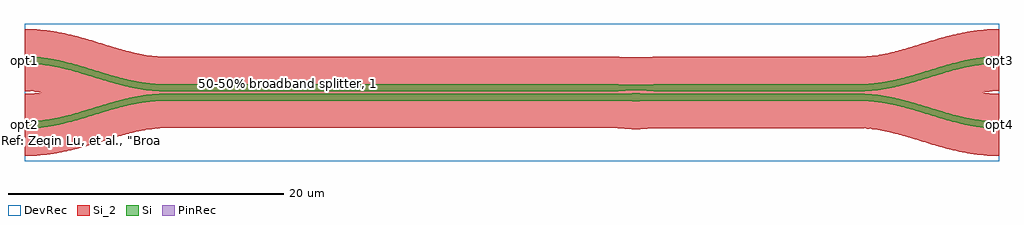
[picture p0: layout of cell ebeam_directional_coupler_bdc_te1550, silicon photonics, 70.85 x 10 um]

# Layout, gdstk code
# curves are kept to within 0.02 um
import gdstk
lib = gdstk.Library(unit=1e-6, precision=1e-09)
def R(c, l, rs):  # rectangles x0, y0, x1, y1
    for r in rs: c.add(gdstk.rectangle(r[:2], r[2:], *l))
def P(c, l, *ps):  # polygons
    for p in ps: c.add(gdstk.Polygon(p, *l))
Si = (1, 0)
Si_2 = (1, 2)
PinRec = (1, 10)
DevRec = (68, 0)

ebeam_directional_couple = lib.new_cell('ebeam_directional_coupler_bdc_te1550')
R(ebeam_directional_couple, Si, [(-35.45,-2.6,-35.35,-2.1), (35.2,-2.6,35.3,-2.1), (8.65,-0.65,9.2,-0.05), (-25.35,-0.6,7.65,-0.1), (10.2,-0.6,25.2,-0.1), (-25.35,0.1,7.65,0.6), (10.2,0.1,25.2,0.6), (8.65,0.15,9.2,0.55), (-35.45,2.1,-35.35,2.6), (35.2,2.1,35.3,2.6)])
P(ebeam_directional_couple, Si, [(-25.35,0.1),(-26.412,0.157),(-27.547,0.332),(-28.852,0.645),(-31.688,1.491),(-32.858,1.794),(-34.041,2.01),(-34.742,2.08),(-35.35,2.1),(-35.35,2.6),(-34.288,2.543),(-33.153,2.368),(-31.848,2.055),(-29.012,1.209),(-27.842,0.906),(-26.659,0.69),(-25.958,0.62),(-25.35,0.6)],
  [(-35.35,-2.6),(-35.35,-2.1),(-34.742,-2.08),(-34.041,-2.01),(-32.858,-1.794),(-31.688,-1.491),(-28.852,-0.645),(-27.547,-0.332),(-26.412,-0.157),(-25.35,-0.1),(-25.35,-0.6),(-25.958,-0.62),(-26.659,-0.69),(-27.842,-0.906),(-29.012,-1.209),(-31.848,-2.055),(-33.153,-2.368),(-34.288,-2.543)],
  [(25.2,0.1),(25.2,0.6),(25.808,0.62),(26.509,0.69),(27.692,0.906),(28.862,1.209),(31.698,2.055),(33.003,2.368),(34.138,2.543),(35.2,2.6),(35.2,2.1),(34.592,2.08),(33.891,2.01),(32.708,1.794),(31.538,1.491),(28.702,0.645),(27.397,0.332),(26.262,0.157)],
  [(35.2,-2.6),(34.138,-2.543),(33.003,-2.368),(31.698,-2.055),(28.862,-1.209),(27.692,-0.906),(26.509,-0.69),(25.808,-0.62),(25.2,-0.6),(25.2,-0.1),(26.262,-0.157),(27.397,-0.332),(28.702,-0.645),(31.538,-1.491),(32.708,-1.794),(33.891,-2.01),(34.592,-2.08),(35.2,-2.1)],
  [(9.2,-0.65),(9.2,-0.05),(10.2,-0.1),(10.2,-0.6)],
  [(10.2,0.1),(9.2,0.15),(9.2,0.55),(10.2,0.6)],
  [(8.65,-0.65),(7.65,-0.6),(7.65,-0.1),(8.65,-0.05)],
  [(7.65,0.1),(7.65,0.6),(8.65,0.55),(8.65,0.15)])
P(ebeam_directional_couple, Si_2, [(-35.45,-4.6),(-35.45,-0.1),(-34.779,-0.078),(-34.116,0),(-34.799,0.079),(-35.45,0.1),(-35.45,4.6),(-34.08,4.532),(-32.768,4.331),(-31.322,3.985),(-27.662,2.918),(-26.637,2.708),(-25.658,2.606),(7.7,2.6),(8.71,2.55),(10.15,2.6),(25.2,2.6),(25.811,2.625),(26.643,2.734),(27.7,2.965),(30.956,3.925),(32.494,4.305),(33.93,4.532),(35.3,4.6),(35.3,0.1),(34.629,0.078),(33.966,0),(34.649,-0.079),(35.3,-0.1),(35.3,-4.6),(33.93,-4.532),(32.618,-4.331),(31.172,-3.985),(28.307,-3.13),(27.235,-2.853),(26.271,-2.676),(25.18,-2.6),(10.26,-2.6),(9.25,-2.65),(7.59,-2.6),(-25.658,-2.606),(-26.656,-2.711),(-27.641,-2.913),(-31.304,-3.98),(-32.75,-4.327),(-34.08,-4.532)])
R(ebeam_directional_couple, DevRec, [(-35.45,-5,35.3,5)])
ebeam_directional_couple.add(gdstk.FlexPath([(-35.4,-2.35),(-35.5,-2.35)], 0.5, ends="flush", simple_path=True, layer=1, datatype=10))  # PinRec
ebeam_directional_couple.add(gdstk.FlexPath([(-35.4,2.35),(-35.5,2.35)], 0.5, ends="flush", simple_path=True, layer=1, datatype=10))  # PinRec
ebeam_directional_couple.add(gdstk.FlexPath([(35.25,2.35),(35.35,2.35)], 0.5, ends="flush", simple_path=True, layer=1, datatype=10))  # PinRec
ebeam_directional_couple.add(gdstk.FlexPath([(35.25,-2.35),(35.35,-2.35)], 0.5, ends="flush", simple_path=True, layer=1, datatype=10))  # PinRec
ebeam_directional_couple.add(gdstk.Label('50-50% broadband splitter, 1550 nm, TE', (-16.299,0.623), layer=10, texttype=0))
ebeam_directional_couple.add(gdstk.Label('opt4', (35.3,-2.35), layer=1, texttype=10))
ebeam_directional_couple.add(gdstk.Label('opt3', (35.3,2.35), layer=1, texttype=10))
ebeam_directional_couple.add(gdstk.Label('opt1', (-35.45,2.35), layer=1, texttype=10))
ebeam_directional_couple.add(gdstk.Label('opt2', (-35.45,-2.35), layer=1, texttype=10))
ebeam_directional_couple.add(gdstk.Label('Component=ebeam_bdc_te1550', (-34.01,0), layer=68, texttype=0))
ebeam_directional_couple.add(gdstk.Label('Lumerical_INTERCONNECT_library=Design kits/ebeam', (-34.01,1.61), layer=68, texttype=0))
ebeam_directional_couple.add(gdstk.Label('Ref: Zeqin Lu, et al., "Broadband silicon photonic directional coupler using asymmetric-waveguide based phase control," Optics Express, 2015', (-35.35,-3.5), layer=68, texttype=0))

lib.write_gds('ebeam_directional_coupler_bdc_te1550.gds')
